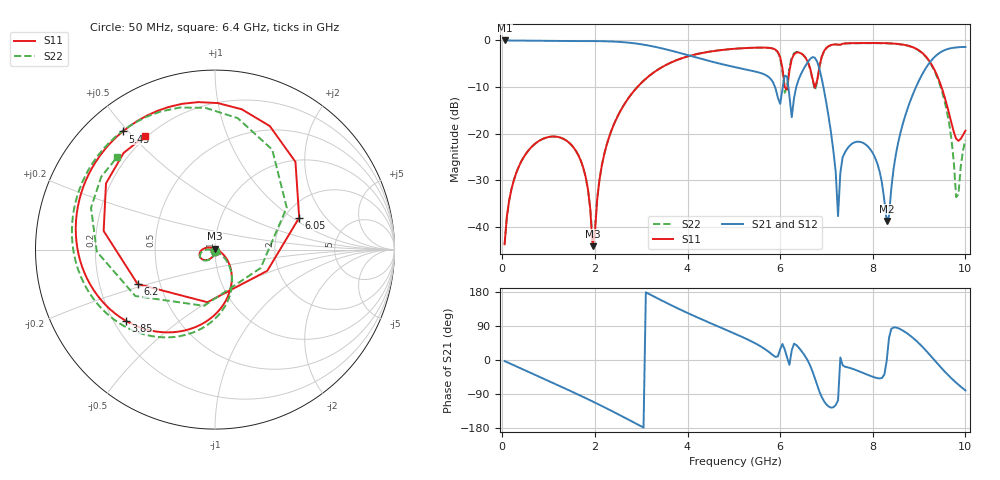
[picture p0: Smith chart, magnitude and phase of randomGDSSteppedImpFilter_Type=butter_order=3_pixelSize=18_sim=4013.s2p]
! freq	dB(S11)	phase(S11)	dB(S12)	phase(S12)
!  dB(S21)	phase(S21)	dB(S22)	phase(S22)
!S-par simulation data
#  GHz  S  DB  R 50
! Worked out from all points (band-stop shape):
!   200 points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, 50 MHz to 10 GHz, reference 50 ohm
!   highest |S21| = -0.01 dB at 50 MHz (marker M1); lowest = -38.7 dB at 8.3 GHz (marker M2)
!   |S21| within 3 dB of the highest: start of sweep to 3.952 GHz; 9.396 GHz to end of sweep
!   lowest |S11| = -44.2 dB at 1.95 GHz (marker M3), VSWR 1.01, Z = 49.8 + j0.579 ohm
!   |S11| at or under -10 dB: start of sweep to 2.918 GHz; 6.099 GHz to 6.157 GHz (57.64 MHz wide, 0.94 % of centre); 9.483 GHz to end of sweep (the widest 3 of 4)
!   |S22| runs from -43.8 to -0.6 dB; largest |S21 - S12| = 0
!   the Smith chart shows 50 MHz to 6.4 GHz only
!   S11 on the Smith chart (normalised r, x): 50 MHz: 1.00, -0.01; 3.85 GHz: 0.25, -0.33; 5.45 GHz: 0.11, +0.48; 6.05 GHz: 2.39, +1.14; 6.2 GHz: 0.37, -0.18; 6.4 GHz: 0.19, +0.54
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0.05  -43.75 -90.4  -0.01 -2.8  -0.01 -2.8  -43.75 -90.3
0.65  -22.70 -127.6  -0.07 -36.0  -0.07 -36.0  -22.69 -125.3
1.75  -27.39 164.9  -0.12 -97.6  -0.12 -97.6  -27.40 -180.0
1.95  -44.17 110.1  -0.13 -109.4  -0.13 -109.4  -42.60 -140.3
2.35  -19.53 -43.8  -0.22 -133.7  -0.22 -133.7  -19.49 -46.7
3.4  -6.03 -113.9  -1.60 159.6  -1.60 159.6  -6.01 -108.7
3.85  -3.93 -141.5  -2.73 132.7  -2.73 132.7  -3.91 -134.5
5.05  -1.77 152.0  -5.79 68.0  -5.79 68.0  -1.75 164.1
5.45  -1.56 128.0  -6.65 44.8  -6.65 44.8  -1.55 141.8
5.9  -1.98 79.2  -10.29 8.1  -10.29 8.1  -2.03 93.9
6.05  -5.99 20.8  -10.41 42.3  -10.41 42.3  -6.68 30.4
6.2  -6.52 -156.0  -11.92 -12.9  -11.92 -12.9  -5.78 -149.8
6.4  -2.58 121.7  -8.37 32.8  -8.37 32.8  -2.50 136.6
6.7  -8.24 89.0  -3.58 -30.7  -3.58 -30.7  -8.51 105.3
7.25  -0.91 85.6  -37.71 -106.8  -37.71 -106.8  -0.92 107.3
7.35  -0.72 79.7  -25.08 -13.8  -25.08 -13.8  -0.74 101.5
7.7  -0.57 55.5  -21.74 -29.6  -21.74 -29.6  -0.60 78.1
8.3  -0.60 16.4  -38.74 -2.3  -38.74 -2.3  -0.63 39.4
8.35  -0.61 12.9  -37.73 57.8  -37.73 57.8  -0.65 35.8
9.2  -4.11 -65.9  -5.14 18.0  -5.14 18.0  -4.25 -49.8
9.8  -21.08 -69.1  -1.50 -59.8  -1.50 -59.8  -33.63 -75.2
10  -19.38 -26.4  -1.40 -80.2  -1.40 -80.2  -21.38 24.4
